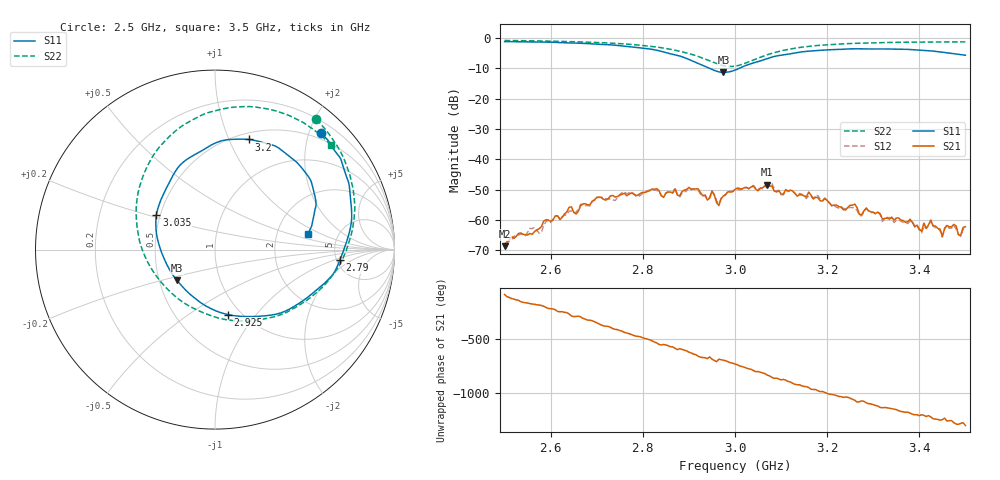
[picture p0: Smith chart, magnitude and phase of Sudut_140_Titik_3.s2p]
# Hz S RI R 50
! CMT, C1220, 16058040, 17.2.0/1
! Date: 15/08/2018 10:41:46
! Data: Format (Calibration Info)
! Freq  S11: Re/Im (F2)  S21: Re/Im (F2)  S12: Re/Im (F2)  S22: Re/Im (F2)
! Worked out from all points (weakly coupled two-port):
!   201 points, 2.5 GHz to 3.5 GHz, reference 50 ohm
!   highest |S21| = -48.42 dB at 3.07 GHz (marker M1); lowest = -68.7 dB at 2.5 GHz (marker M2)
!   lowest |S11| = -11.3 dB at 2.975 GHz (marker M3), VSWR 1.75, Z = 30.8 - j11.3 ohm
!   |S11| at or under -10 dB: 2.946 GHz to 3.008 GHz (62.53 MHz wide, 2.1 % of centre)
!   |S22| runs from -9.3 to -0.7 dB; largest |S21 - S12| = 0.00039
!   S11 on the Smith chart (normalised r, x): 2.5 GHz: 0.38, +2.21; 2.79 GHz: 5.35, -1.21; 2.925 GHz: 0.87, -0.73; 3.035 GHz: 0.48, +0.22; 3.2 GHz: 0.57, +1.18; 3.5 GHz: 3.00, +0.73
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2.5e9  0.5928 0.6498  3.12e-05 -0.000365  -3.53e-05 -0.000407  0.564 0.725
2.67e9  0.7498 0.3394  0.00105 0.0015  0.00109 0.00138  0.7386 0.4533
2.79e9  0.6958 -0.0578  -0.000981 -0.00238  -0.000968 -0.0022  0.7641 0.1054
2.835e9  0.5835 -0.2103  -0.00302 0.00037  -0.00292 0.00024  0.7034 -0.0681
2.925e9  0.071 -0.3617  0.00163 0.00231  0.00144 0.00226  0.2975 -0.3814
2.94e9  -0.0212 -0.3296  0.00159 0.0014  0.0016 0.00148  0.1825 -0.3982
2.95e9  -0.0813 -0.2948  0.00236 0.00179  0.00228 0.00191  0.1034 -0.3957
2.965e9  -0.1657 -0.2234  0.00139 0.00101  0.00153 0.00102  -0.0188 -0.3696
2.975e9  -0.213 -0.1702  0.00223 0.0011  0.0022 0.00106  -0.0964 -0.3383
3e9  -0.2966 -0.019  0.00312 -0.000479  0.00306 -0.000617  -0.2722 -0.2124
3.035e9  -0.3264 0.1951  0.00183 -0.00296  0.00188 -0.00289  -0.4202 0.0464
3.07e9  -0.2465 0.3887  -0.00139 -0.00353  -0.00116 -0.00353  -0.4286 0.3171
3.17e9  0.0867 0.6139  -0.000951 0.00199  -0.00113 0.00193  -0.0888 0.7418
3.2e9  0.187 0.6138  0.000436 0.00204  0.000551 0.00202  0.0213 0.7784
3.335e9  0.4905 0.4463  0.000536 -0.000873  0.000494 -0.000967  0.3928 0.7548
3.38e9  0.5407 0.3625  -0.000235 -0.000991  -0.000174 -0.000923  0.4803 0.7141
3.405e9  0.5556 0.3014  -0.000306 -0.000568  -0.000326 -0.000511  0.5195 0.6886
3.425e9  0.5632 0.2546  -0.000741 -0.000647  -0.000778 -0.000592  0.5495 0.6685
3.45e9  0.553 0.2  -0.00051 -0.000145  -0.000497 -0.000145  0.5858 0.64
3.46e9  0.5478 0.173  -0.000805 -4.55e-05  -0.000822 -2.35e-05  0.5986 0.6298
3.49e9  0.5264 0.1058  -0.000529 0.000171  -0.000504 0.000169  0.6344 0.5943
3.5e9  0.5162 0.0877  -0.000606 0.00047  -0.000533 0.00042  0.6456 0.583
